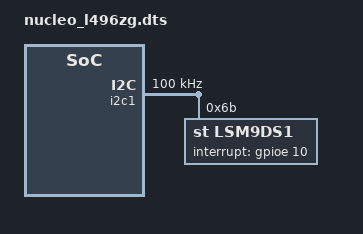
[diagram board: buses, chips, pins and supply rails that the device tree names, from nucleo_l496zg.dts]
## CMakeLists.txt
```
cmake_minimum_required(VERSION 3.13.1)

# Define the target board
set(BOARD nucleo_l496zg)

# Include Zephyr's build system
find_package(Zephyr REQUIRED HINTS $ENV{ZEPHYR_BASE})
project(lsm9ds1_sensor_project)

# Add your source files here
target_sources(app PRIVATE src/main.c)
```

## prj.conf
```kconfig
CONFIG_SENSOR=y
CONFIG_LSM9DS1=y
CONFIG_I2C=y
```

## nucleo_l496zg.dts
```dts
&i2c1 {
    status = "okay";
    clock-frequency = <I2C_BITRATE_STANDARD>;  // or other supported bitrate

    lsm9ds1@6b {
        compatible = "st,lsm9ds1";
        reg = <0x6b>;
        interrupt-gpios = <&gpioe 10 GPIO_ACTIVE_HIGH>;
        label = "LSM9DS1";
    };
};
```

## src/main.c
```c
#include <zephyr/kernel.h>
#include <zephyr/device.h>
#include <zephyr/drivers/sensor.h>
#include <zephyr/devicetree.h>
#include <zephyr/sys/printk.h>

int main(void) 
{
    const struct device *lsm9ds1_ag = device_get_binding("LSM9DS1");
    //struct device *lsm9ds1_m = device_get_binding("LSM9DS1_M");

    if (!lsm9ds1_ag) {
        printk("Failed to find LSM9DS1 device\n");
        return -1;
    }

    struct sensor_value accel[3];
    struct sensor_value gyro[3];
    //struct sensor_value magn[3];

    while (1) {
        // Fetch sensor data
        sensor_sample_fetch(lsm9ds1_ag);
        //sensor_sample_fetch(lsm9ds1_m);

        // Get acceleration data
        sensor_channel_get(lsm9ds1_ag, SENSOR_CHAN_ACCEL_XYZ, accel);

        // Get gyroscope data
        sensor_channel_get(lsm9ds1_ag, SENSOR_CHAN_GYRO_XYZ, gyro);

        // Get magnetometer data
        //sensor_channel_get(lsm9ds1_m, SENSOR_CHAN_MAGN_XYZ, magn);

        printk("Accel: x=%f, y=%f, z=%f\n",
               sensor_value_to_double(&accel[0]),
               sensor_value_to_double(&accel[1]),
               sensor_value_to_double(&accel[2]));

        printk("Gyro: x=%f, y=%f, z=%f\n",
               sensor_value_to_double(&gyro[0]),
               sensor_value_to_double(&gyro[1]),
               sensor_value_to_double(&gyro[2]));

        //printk("Magn: x=%f, y=%f, z=%f\n",
               //sensor_value_to_double(&magn[0]),
               //sensor_value_to_double(&magn[1]),
               //sensor_value_to_double(&magn[2]));

        k_sleep(K_MSEC(1000));
    }
}
```
